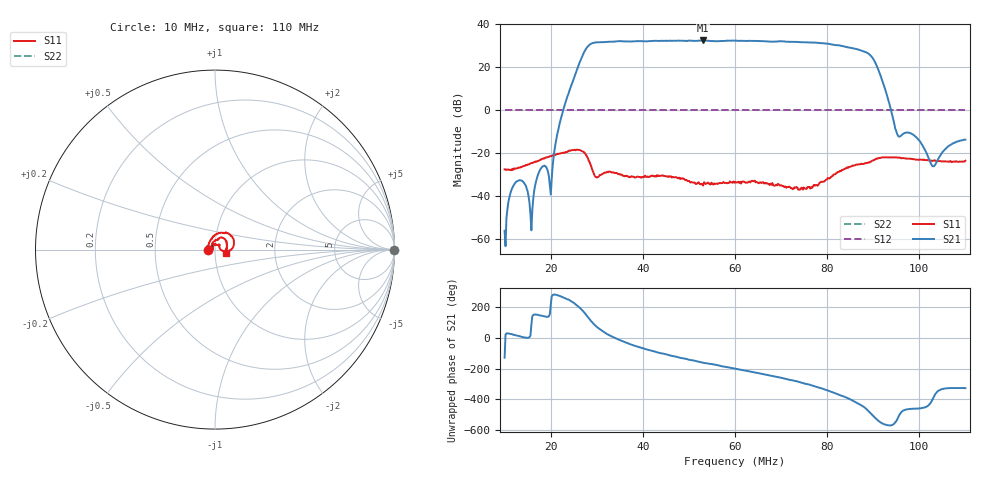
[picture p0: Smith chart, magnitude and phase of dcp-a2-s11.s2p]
! Anritsu VNA Master:  Model: MS2034B/10/19/501
! SN:  1337062
! /bd0/ovro-jan-2016/dcp-a2-s11.s2p
! Existing Calibration Information:
! TYPE:  Current Settings,  Active Cal Settings
! TIME:  01/10/2016 03:50:04 PM,  01/10/2016 03:13:30 PM
! INTERNAL TEMP:  42.5 C,  45.8 C
! # POINTS:  500,  500
! START FREQ:  10.000 MHz,  10.000 MHz
! STOP FREQ:  110.000 MHz,  110.000 MHz
! SOURCE POWER:  Low,  Low
! IFBW:  100 Hz,  100 Hz
! AVG FACTOR:  3 ,  3
! REF PLANE 1:  2.2245 m,  2.2245 m
! REF PLANE 2:  0 mm,  0 mm
! CAL TYPE:  1P2P S11,S21,  1P2P S11,S21
! CAL METHOD:  SOLT,  SOLT
! CAL LINE TYPE:  Coax,  Coax
! DUT PORT 1:  K-Conn(M),  K-Conn(M)
! DUT PORT 2:  N-Conn(M),  N-Conn(M)
! CAL STATUS:  OK: Accuracy High,  --
# GHZ S DB R 50.0
! FREQ.GHZ  S11DB  S11A  S21DB  S21A  S12DB  S12A  S22DB  S22A
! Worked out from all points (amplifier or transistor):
!   500 points, 10 MHz to 110 MHz, reference 50 ohm
!   highest |S21| = 32.5 dB at 53.09 MHz (marker M1)
!   |S21| within 3 dB of that: 27.98 MHz to 84.02 MHz (56.04 MHz wide, 100 % of centre)
!   unconditionally stable (mu >= 1): nowhere
!   at 26.63 MHz: K = 8.18, MSG = 12.1 dB, |S12| = 0.0 dB
!   at 60.1 MHz: K = 20.77, MSG = 16.2 dB, |S12| = 0.0 dB
!   at 110 MHz: K = 0.06, MSG = -6.9 dB, |S12| = 0.0 dB
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0.01  -27.60 -174.6  -56.28 -129.8  0.00 0.0  0.00 0.0
0.02362725  -19.46 59.1  6.41 -110.7  0.00 0.0  0.00 0.0
0.02683367  -19.17 16.3  25.17 179.7  0.00 0.0  0.00 0.0
0.02803607  -22.22 -7.1  29.67 135.9  0.00 0.0  0.00 0.0
0.02883768  -26.53 -11.4  31.04 105.8  0.00 0.0  0.00 0.0
0.02963928  -30.93 7.2  31.56 80.6  0.00 0.0  0.00 0.0
0.03164329  -29.19 46.5  31.77 35.4  0.00 0.0  0.00 0.0
0.0340481  -29.33 50.0  32.05 -2.7  0.00 0.0  0.00 0.0
0.03845691  -31.38 77.2  32.15 -54.2  0.00 0.0  0.00 0.0
0.04346693  -30.52 98.7  32.28 -97.6  0.00 0.0  0.00 0.0
0.04727455  -31.40 108.2  32.39 -123.5  0.00 0.0  0.00 0.0
0.05308617  -35.16 138.6  32.53 -162.7  0.00 0.0  0.00 0.0
0.0601002  -33.52 178.5  32.38 158.9  0.00 0.0  0.00 0.0
0.06991984  -35.13 -179.1  32.14 100.9  0.00 0.0  0.00 0.0
0.07673347  -36.25 163.8  31.53 49.0  0.00 0.0  0.00 0.0
0.08214429  -29.16 116.7  30.32 -5.1  0.00 0.0  0.00 0.0
0.08655311  -25.48 82.7  28.37 -64.3  0.00 0.0  0.00 0.0
0.08835671  -24.74 73.1  27.08 -99.3  0.00 0.0  0.00 0.0
0.08975952  -23.60 71.8  24.68 -140.7  0.00 0.0  0.00 0.0
0.09116233  -22.36 62.8  18.56 179.1  0.00 0.0  0.00 0.0
0.09336673  -21.95 46.9  3.97 150.7  0.00 0.0  0.00 0.0
0.11  -23.60 -15.0  -13.77 32.5  0.00 0.0  0.00 0.0
